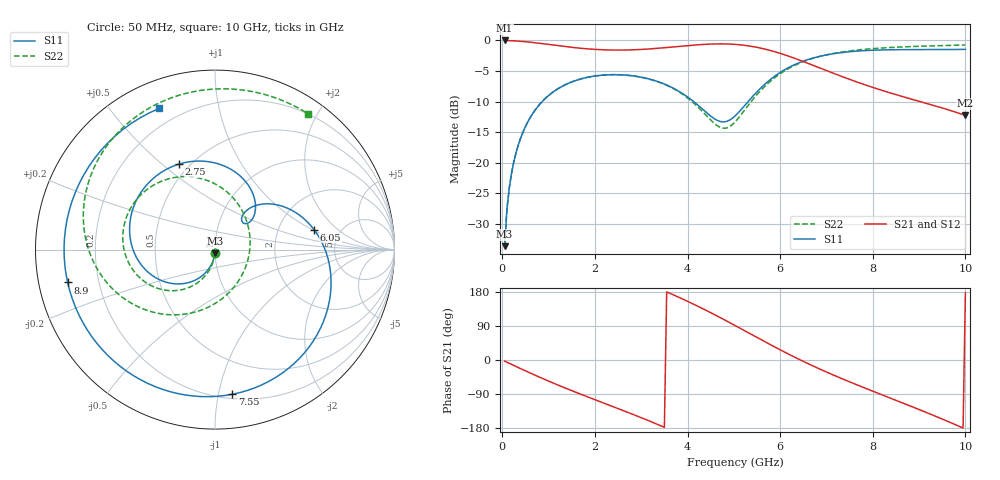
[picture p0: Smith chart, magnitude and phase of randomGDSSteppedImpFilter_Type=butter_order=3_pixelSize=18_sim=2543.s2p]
! freq	dB(S11)	phase(S11)	dB(S12)	phase(S12)
!  dB(S21)	phase(S21)	dB(S22)	phase(S22)
!S-par simulation data
#  GHz  S  DB  R 50
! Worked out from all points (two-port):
!   200 points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, 50 MHz to 10 GHz, reference 50 ohm
!   highest |S21| = -0.01 dB at 50 MHz (marker M1); lowest = -12.2 dB at 10 GHz (marker M2)
!   |S21| within 3 dB of the highest: start of sweep to 6.343 GHz
!   lowest |S11| = -33.6 dB at 50 MHz (marker M3), VSWR 1.04, Z = 49.8 - j2.08 ohm
!   |S11| at or under -10 dB: start of sweep to 860.6 MHz; 4.134 GHz to 5.307 GHz (1.174 GHz wide, 24.9 % of centre)
!   |S22| runs from -33.6 to -0.8 dB; largest |S21 - S12| = 0
!   S11 on the Smith chart (normalised r, x): 50 MHz: 1.00, -0.04; 2.75 GHz: 0.44, +0.57; 6.05 GHz: 3.20, +1.05; 7.55 GHz: 0.23, -1.10; 8.9 GHz: 0.09, -0.11; 10 GHz: 0.12, +0.67
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0.05  -33.60 -93.2  -0.01 -2.9  -0.01 -2.9  -33.61 -92.6
0.1  -27.61 -96.6  -0.02 -5.8  -0.02 -5.8  -27.60 -95.4
0.2  -21.67 -103.2  -0.05 -11.6  -0.05 -11.6  -21.66 -100.9
0.5  -14.08 -122.1  -0.21 -28.6  -0.21 -28.6  -14.07 -116.2
1.1  -8.41 -158.0  -0.76 -60.9  -0.76 -60.9  -8.40 -144.9
1.75  -6.19 166.0  -1.32 -92.9  -1.32 -92.9  -6.18 -172.9
2.75  -5.73 113.0  -1.55 -140.1  -1.55 -140.1  -5.73 146.2
3.4  -6.83 78.5  -1.26 -172.4  -1.26 -172.4  -6.87 116.8
3.8  -8.24 58.4  -0.99 166.2  -0.99 166.2  -8.34 94.9
4.2  -10.41 42.6  -0.73 143.2  -0.73 143.2  -10.70 66.0
4.7  -13.23 42.0  -0.56 112.3  -0.56 112.3  -14.18 4.2
5.05  -12.16 51.2  -0.66 89.5  -0.66 89.5  -13.12 -54.9
5.6  -7.63 37.4  -1.29 52.9  -1.29 52.9  -8.02 -115.1
6.05  -4.99 11.5  -2.24 23.8  -2.24 23.8  -5.19 -146.6
6.7  -2.90 -30.2  -4.03 -15.2  -4.03 -15.2  -2.94 177.9
7.15  -2.17 -58.6  -5.36 -39.7  -5.36 -39.7  -2.12 157.4
7.55  -1.81 -83.2  -6.50 -60.2  -6.50 -60.2  -1.67 140.9
7.95  -1.62 -107.5  -7.55 -79.9  -7.55 -79.9  -1.37 125.6
8.35  -1.53 -132.1  -8.51 -99.1  -8.51 -99.1  -1.17 111.1
8.9  -1.50 -167.4  -9.72 -125.7  -9.72 -125.7  -0.98 92.0
9.45  -1.50 154.1  -10.91 -153.2  -10.91 -153.2  -0.85 73.6
10  -1.46 111.5  -12.24 177.8  -12.24 177.8  -0.75 55.5
